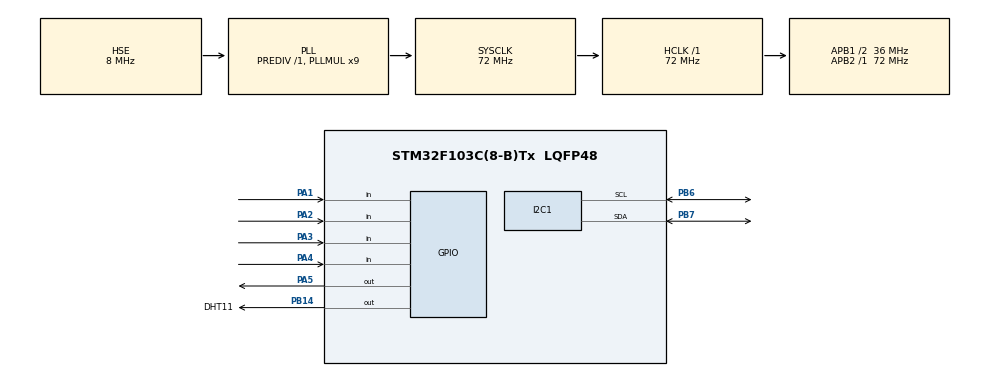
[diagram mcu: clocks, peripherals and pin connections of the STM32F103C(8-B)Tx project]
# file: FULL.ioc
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Mcu.Family=STM32F1
Mcu.Name=STM32F103C(8-B)Tx
Mcu.Package=LQFP48
NVIC.PriorityGroup=NVIC_PRIORITYGROUP_4
PA1.GPIO_PuPd=GPIO_PULLUP
PA1.Signal=GPIO_Input
PA13.Mode=Serial_Wire
PA13.Signal=SYS_JTMS-SWDIO
PA14.Mode=Serial_Wire
PA14.Signal=SYS_JTCK-SWCLK
PA2.GPIO_PuPd=GPIO_PULLUP
PA2.Signal=GPIO_Input
PA3.GPIO_PuPd=GPIO_PULLUP
PA3.Signal=GPIO_Input
PA4.GPIO_PuPd=GPIO_PULLUP
PA4.Signal=GPIO_Input
PA5.Signal=GPIO_Output
PB14.GPIO_Label=DHT11
PB14.Signal=GPIO_Output
PB6.Mode=I2C
PB6.Signal=I2C1_SCL
PB7.Mode=I2C
PB7.Signal=I2C1_SDA
PD0-OSC_IN.Mode=HSE-External-Oscillator
PD0-OSC_IN.Signal=RCC_OSC_IN
PD1-OSC_OUT.Mode=HSE-External-Oscillator
PD1-OSC_OUT.Signal=RCC_OSC_OUT
ProjectManager.HeapSize=0x200
ProjectManager.StackSize=0x400
ProjectManager.TargetToolchain=MDK-ARM V5.32
RCC.AHBFreq_Value=72000000
RCC.APB1CLKDivider=RCC_HCLK_DIV2
RCC.APB1Freq_Value=36000000
RCC.APB1TimFreq_Value=72000000
RCC.APB2Freq_Value=72000000
RCC.APB2TimFreq_Value=72000000
RCC.HCLKFreq_Value=72000000
RCC.PLLMUL=RCC_PLL_MUL9
RCC.PLLSourceVirtual=RCC_PLLSOURCE_HSE
RCC.SYSCLKFreq_VALUE=72000000
RCC.SYSCLKSource=RCC_SYSCLKSOURCE_PLLCLK
RCC.USBFreq_Value=72000000
TIM3.Period=0xffff-1
TIM3.Prescaler=72-1
VP_RTC_VS_RTC_Activate.Mode=RTC_Enabled
VP_RTC_VS_RTC_Calendar.Mode=RTC_Calendar
VP_TIM3_VS_ClockSourceINT.Mode=Internal
board=custom

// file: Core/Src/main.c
#include "main.h"
#include "DHT.h"
#include "CLCD_I2C.h"

I2C_HandleTypeDef hi2c1;

RTC_HandleTypeDef hrtc;

TIM_HandleTypeDef htim3;

/* USER CODE BEGIN PV */

uint16_t Count;
CLCD_I2C_Name LCD1;

char time[30];
char date[30];
char t[100];
char f[100];

/* USER CODE END PV */

void SystemClock_Config(void);
static void MX_GPIO_Init(void);
static void MX_I2C1_Init(void);
static void MX_RTC_Init(void);
static void MX_TIM3_Init(void);
  RTC_TimeTypeDef sTime;
  RTC_DateTypeDef sDate;
/* USER CODE BEGIN 0 */

// khai bao bien de hen gio
int i , minute1=0,hour1=0,day1=0,month1=0,year1=0,second1;

char *Time ="TIME:0 :0 :0 ";
char *Date ="DATE:0 -0 -22";

#define DHT11_PORT GPIOB
#define DHT11_PIN GPIO_PIN_14
uint8_t RHI, RHD, TCI, TCD, SUM;
uint32_t pMillis, cMillis;
float tCelsius = 0;
float tFahrenheit = 0;
float RH = 0;

void microDelay (uint16_t delay)
{
  __HAL_TIM_SET_COUNTER(&htim3, 0);
  while (__HAL_TIM_GET_COUNTER(&htim3) < delay);
}

uint8_t DHT11_Start (void)
{
  uint8_t Response = 0;
  GPIO_InitTypeDef GPIO_InitStructPrivate = {0};
  GPIO_InitStructPrivate.Pin = DHT11_PIN;
  GPIO_InitStructPrivate.Mode = GPIO_MODE_OUTPUT_PP;
  GPIO_InitStructPrivate.Speed = GPIO_SPEED_FREQ_LOW;
  GPIO_InitStructPrivate.Pull = GPIO_NOPULL;
  HAL_GPIO_Init(DHT11_PORT, &GPIO_InitStructPrivate); // set the pin as output
  HAL_GPIO_WritePin (DHT11_PORT, DHT11_PIN, 0);   // pull the pin low
  HAL_Delay(20);   // wait for 20ms
  HAL_GPIO_WritePin (DHT11_PORT, DHT11_PIN, 1);   // pull the pin high
  microDelay (30);   // wait for 30us
  GPIO_InitStructPrivate.Mode = GPIO_MODE_INPUT;
  GPIO_InitStructPrivate.Pull = GPIO_PULLUP;
  HAL_GPIO_Init(DHT11_PORT, &GPIO_InitStructPrivate); // set the pin as input
  microDelay (40);
  if (!(HAL_GPIO_ReadPin (DHT11_PORT, DHT11_PIN)))
  {
    microDelay (80);
    if ((HAL_GPIO_ReadPin (DHT11_PORT, DHT11_PIN))) Response = 1;
  }
  pMillis = HAL_GetTick();
  cMillis = HAL_GetTick();
  while ((HAL_GPIO_ReadPin (DHT11_PORT, DHT11_PIN)) && pMillis + 2 > cMillis)
  {
    cMillis = HAL_GetTick();
  }
  return Response;
}

uint8_t DHT11_Read (void)
{
  uint8_t a,b;
  for (a=0;a<8;a++)
  {
    pMillis = HAL_GetTick();
    cMillis = HAL_GetTick();
    while (!(HAL_GPIO_ReadPin (DHT11_PORT, DHT11_PIN)) && pMillis + 2 > cMillis)
    {  // wait for the pin to go high
      cMillis = HAL_GetTick();
    }
    microDelay (40);   // wait for 40 us
    if (!(HAL_GPIO_ReadPin (DHT11_PORT, DHT11_PIN)))   // if the pin is low
      b&= ~(1<<(7-a));
    else
      b|= (1<<(7-a));
    pMillis = HAL_GetTick();
    cMillis = HAL_GetTick();
    while ((HAL_GPIO_ReadPin (DHT11_PORT, DHT11_PIN)) && pMillis + 2 > cMillis)
    {  // wait for the pin to go low
      cMillis = HAL_GetTick();
    }
  }
  return b;
}

/* USER CODE END 0 */
int main(void)
{

  /* Configure the system clock */
  SystemClock_Config();

  /* Initialize all configured peripherals */
  MX_GPIO_Init();
  MX_I2C1_Init();
  MX_RTC_Init();
  MX_TIM3_Init();

  HAL_TIM_Base_Start(&htim3);
  /* USER CODE BEGIN 2 */
  CLCD_I2C_Init(&LCD1,&hi2c1,0x4e,20,4);
  CLCD_I2C_SetCursor(&LCD1, 0, 0);
  CLCD_I2C_WriteString(&LCD1,"Thiet ke HTN");
  CLCD_I2C_SetCursor(&LCD1, 0, 1);
  CLCD_I2C_WriteString(&LCD1,"Hello anh em !");
  HAL_Delay(2000);

  CLCD_I2C_Clear(&LCD1);
  /* USER CODE END 2 */

  /* Infinite loop */
  while (1)
  {
        if(DHT11_Start())
    {
      RHI = DHT11_Read(); // phan nguyen cua do am
      RHD = DHT11_Read(); // phan thap phan cua do am
      TCI = DHT11_Read(); // phan nguyen cua temp
      TCD = DHT11_Read(); // phan thap phan cua temp
      SUM = DHT11_Read(); // kiem tra tong^?
      if (RHI + RHD + TCI + TCD == SUM)
      {
        tCelsius = (float)TCI + (float)(TCD/10.0);
        RH = (float)RHI + (float)(RHD/10.0);
      }
    }

    sprintf(t,"Nhiet do: %.02f C",tCelsius);
    sprintf(f,"Do am: %.02f",RH);

    HAL_RTC_GetDate(&hrtc, &sDate, RTC_FORMAT_BIN);
    HAL_RTC_GetTime(&hrtc, &sTime, RTC_FORMAT_BIN);

    sprintf(date,"Date: %02d.%02d.%02d.",sDate.Date,sDate.Month,sDate.Year);
    sprintf(time,"Time: %02d.%02d.%02d.",sTime.Hours,sTime.Minutes,sTime.Seconds);

    CLCD_I2C_SetCursor(&LCD1, 2, 0);
    CLCD_I2C_WriteString(&LCD1,date);
    CLCD_I2C_SetCursor(&LCD1, 2, 1);
    CLCD_I2C_WriteString(&LCD1,time);
    CLCD_I2C_SetCursor(&LCD1, 2, 2);
    CLCD_I2C_WriteString(&LCD1,t);
    CLCD_I2C_SetCursor(&LCD1, 2, 3);
    CLCD_I2C_WriteString(&LCD1,f);
    HAL_Delay(900);
    if(!(HAL_GPIO_ReadPin(GPIOA,GPIO_PIN_4))){

      CLCD_I2C_Clear(&LCD1);
      CLCD_I2C_SetCursor(&LCD1, 0, 0);

      CLCD_I2C_WriteString(&LCD1,Time);

        CLCD_I2C_SetCursor(&LCD1, 0, 1);
        CLCD_I2C_WriteString(&LCD1,Date);
        CLCD_I2C_SetCursor(&LCD1, 2, 3);
       CLCD_I2C_WriteString(&LCD1," Che do hen gio ");
       i=0;
       hour1= edit(5,0,hour1);
       minute1=edit(8,0,minute1);
      second1=edit(11,0,second1);
        day1=edit(5,1,day1);
       month1=edit(8,1,month1);

       while(1){
         if(!(HAL_GPIO_ReadPin(GPIOA,GPIO_PIN_2))){
           CLCD_I2C_Clear(&LCD1);
           break;
         }
       }
    }
    if(sTime.Hours==hour1&&sTime.Minutes==minute1){
      HAL_GPIO_WritePin(GPIOA,GPIO_PIN_5,GPIO_PIN_SET);
    if(!(HAL_GPIO_ReadPin(GPIOA,GPIO_PIN_3))){
      HAL_GPIO_WritePin(GPIOA,GPIO_PIN_5,GPIO_PIN_RESET);
      hour1=0;
      minute1=0;

    }
  }
}
}

void SystemClock_Config(void)
{
  RCC_OscInitTypeDef RCC_OscInitStruct = {0};
  RCC_ClkInitTypeDef RCC_ClkInitStruct = {0};
  RCC_PeriphCLKInitTypeDef PeriphClkInit = {0};

  RCC_OscInitStruct.OscillatorType = RCC_OSCILLATORTYPE_LSI|RCC_OSCILLATORTYPE_HSE;
  RCC_OscInitStruct.HSEState = RCC_HSE_ON;
  RCC_OscInitStruct.HSEPredivValue = RCC_HSE_PREDIV_DIV1;
  RCC_OscInitStruct.HSIState = RCC_HSI_ON;
  RCC_OscInitStruct.LSIState = RCC_LSI_ON;
  RCC_OscInitStruct.PLL.PLLState = RCC_PLL_ON;
  RCC_OscInitStruct.PLL.PLLSource = RCC_PLLSOURCE_HSE;
  RCC_OscInitStruct.PLL.PLLMUL = RCC_PLL_MUL9;
  if (HAL_RCC_OscConfig(&RCC_OscInitStruct) != HAL_OK)
  {
    Error_Handler();
  }

  RCC_ClkInitStruct.ClockType = RCC_CLOCKTYPE_HCLK|RCC_CLOCKTYPE_SYSCLK
                              |RCC_CLOCKTYPE_PCLK1|RCC_CLOCKTYPE_PCLK2;
  RCC_ClkInitStruct.SYSCLKSource = RCC_SYSCLKSOURCE_PLLCLK;
  RCC_ClkInitStruct.AHBCLKDivider = RCC_SYSCLK_DIV1;
  RCC_ClkInitStruct.APB1CLKDivider = RCC_HCLK_DIV2;
  RCC_ClkInitStruct.APB2CLKDivider = RCC_HCLK_DIV1;

  if (HAL_RCC_ClockConfig(&RCC_ClkInitStruct, FLASH_LATENCY_2) != HAL_OK)
  {
    Error_Handler();
  }
  PeriphClkInit.PeriphClockSelection = RCC_PERIPHCLK_RTC;
  PeriphClkInit.RTCClockSelection = RCC_RTCCLKSOURCE_LSI;
  if (HAL_RCCEx_PeriphCLKConfig(&PeriphClkInit) != HAL_OK)
  {
    Error_Handler();
  }
}

static void MX_I2C1_Init(void)
{

  hi2c1.Instance = I2C1;
  hi2c1.Init.ClockSpeed = 100000;
  hi2c1.Init.DutyCycle = I2C_DUTYCYCLE_2;
  hi2c1.Init.OwnAddress1 = 0;
  hi2c1.Init.AddressingMode = I2C_ADDRESSINGMODE_7BIT;
  hi2c1.Init.DualAddressMode = I2C_DUALADDRESS_DISABLE;
  hi2c1.Init.OwnAddress2 = 0;
  hi2c1.Init.GeneralCallMode = I2C_GENERALCALL_DISABLE;
  hi2c1.Init.NoStretchMode = I2C_NOSTRETCH_DISABLE;
  if (HAL_I2C_Init(&hi2c1) != HAL_OK)
  {
    Error_Handler();
  }

}

static void MX_RTC_Init(void)
{

  RTC_TimeTypeDef sTime = {0};
  RTC_DateTypeDef DateToUpdate = {0};

  hrtc.Instance = RTC;
  hrtc.Init.AsynchPrediv = RTC_AUTO_1_SECOND;
  hrtc.Init.OutPut = RTC_OUTPUTSOURCE_ALARM;
  if (HAL_RTC_Init(&hrtc) != HAL_OK)
  {
    Error_Handler();
  }

  sTime.Hours = 0x3;
  sTime.Minutes = 0x0;
  sTime.Seconds = 0x0;

  if (HAL_RTC_SetTime(&hrtc, &sTime, RTC_FORMAT_BCD) != HAL_OK)
  {
    Error_Handler();
  }
  DateToUpdate.WeekDay = RTC_WEEKDAY_WEDNESDAY;
  DateToUpdate.Month = RTC_MONTH_APRIL;
  DateToUpdate.Date = 0x6;
  DateToUpdate.Year = 0x22;

  if (HAL_RTC_SetDate(&hrtc, &DateToUpdate, RTC_FORMAT_BCD) != HAL_OK)
  {
    Error_Handler();
  }

}
static void MX_TIM3_Init(void)
{

  TIM_ClockConfigTypeDef sClockSourceConfig = {0};
  TIM_MasterConfigTypeDef sMasterConfig = {0};

  htim3.Instance = TIM3;
  htim3.Init.Prescaler = 72-1;
  htim3.Init.CounterMode = TIM_COUNTERMODE_UP;
  htim3.Init.Period = 0xffff-1;
  htim3.Init.ClockDivision = TIM_CLOCKDIVISION_DIV1;
  htim3.Init.AutoReloadPreload = TIM_AUTORELOAD_PRELOAD_DISABLE;
  if (HAL_TIM_Base_Init(&htim3) != HAL_OK)
  {
    Error_Handler();
  }
  sClockSourceConfig.ClockSource = TIM_CLOCKSOURCE_INTERNAL;
  if (HAL_TIM_ConfigClockSource(&htim3, &sClockSourceConfig) != HAL_OK)
  {
    Error_Handler();
  }
  sMasterConfig.MasterOutputTrigger = TIM_TRGO_RESET;
  sMasterConfig.MasterSlaveMode = TIM_MASTERSLAVEMODE_DISABLE;
  if (HAL_TIMEx_MasterConfigSynchronization(&htim3, &sMasterConfig) != HAL_OK)
  {
    Error_Handler();
  }

}

static void MX_GPIO_Init(void)
{
  GPIO_InitTypeDef GPIO_InitStruct = {0};

  /* GPIO Ports Clock Enable */
  __HAL_RCC_GPIOD_CLK_ENABLE();
  __HAL_RCC_GPIOA_CLK_ENABLE();
  __HAL_RCC_GPIOB_CLK_ENABLE();

  /*Configure GPIO pin Output Level */
  HAL_GPIO_WritePin(GPIOA, GPIO_PIN_5, GPIO_PIN_RESET);

  /*Configure GPIO pin Output Level */
  HAL_GPIO_WritePin(DHT11_GPIO_Port, DHT11_Pin, GPIO_PIN_RESET);

  /*Configure GPIO pins : PA1 PA2 PA3 PA4 */
  GPIO_InitStruct.Pin = GPIO_PIN_1|GPIO_PIN_2|GPIO_PIN_3|GPIO_PIN_4;
  GPIO_InitStruct.Mode = GPIO_MODE_INPUT;
  GPIO_InitStruct.Pull = GPIO_PULLUP;
  HAL_GPIO_Init(GPIOA, &GPIO_InitStruct);

  /*Configure GPIO pin : PA5 */
  GPIO_InitStruct.Pin = GPIO_PIN_5;
  GPIO_InitStruct.Mode = GPIO_MODE_OUTPUT_PP;
  GPIO_InitStruct.Pull = GPIO_NOPULL;
  GPIO_InitStruct.Speed = GPIO_SPEED_FREQ_LOW;
  HAL_GPIO_Init(GPIOA, &GPIO_InitStruct);

  /*Configure GPIO pin : DHT11_Pin */
  GPIO_InitStruct.Pin = DHT11_Pin;
  GPIO_InitStruct.Mode = GPIO_MODE_OUTPUT_PP;
  GPIO_InitStruct.Pull = GPIO_NOPULL;
  GPIO_InitStruct.Speed = GPIO_SPEED_FREQ_LOW;
  HAL_GPIO_Init(DHT11_GPIO_Port, &GPIO_InitStruct);

}

void Error_Handler(void)
{

  __disable_irq();
  while (1)
  {
  }
  /* USER CODE END Error_Handler_Debug */
}

void nhapnhay(){
  int j =0;
  while(j<15&&HAL_GPIO_ReadPin(GPIOA,GPIO_PIN_4)==1&&HAL_GPIO_ReadPin(GPIOA,GPIO_PIN_1)==1){
    j++;
    HAL_Delay(50);
  }
}
// ham chinh sua gia tri
int edit(int x , int y, int thamso){
  char van[10];
  HAL_Delay(1000);
  while(1){
    while(!(HAL_GPIO_ReadPin(GPIOA,GPIO_PIN_1))){
      thamso++;
      if(i==0 && thamso>23){
       thamso =0;
      }
      if(i==1 && thamso>59){
       thamso =0;
      }
      if(i==2 && thamso>59){
       thamso =0;
      }
      if(i==3 && thamso>31){
       thamso =1;
      }
      if(i==4 && thamso>12){
       thamso =1;
      }
      sprintf(van,"%d",thamso);
      CLCD_I2C_SetCursor(&LCD1, x, y);
      CLCD_I2C_WriteString(&LCD1,van);
      HAL_Delay(200);
    }
    CLCD_I2C_SetCursor(&LCD1, x, y);
    CLCD_I2C_WriteString(&LCD1,"  ");
    nhapnhay();
    sprintf(van,"%d",thamso);
    CLCD_I2C_SetCursor(&LCD1, x, y);
    CLCD_I2C_WriteString(&LCD1,van);
    nhapnhay();
    if(!(HAL_GPIO_ReadPin(GPIOA,GPIO_PIN_4))){
       i++;
       return thamso;
    }
  }
}
